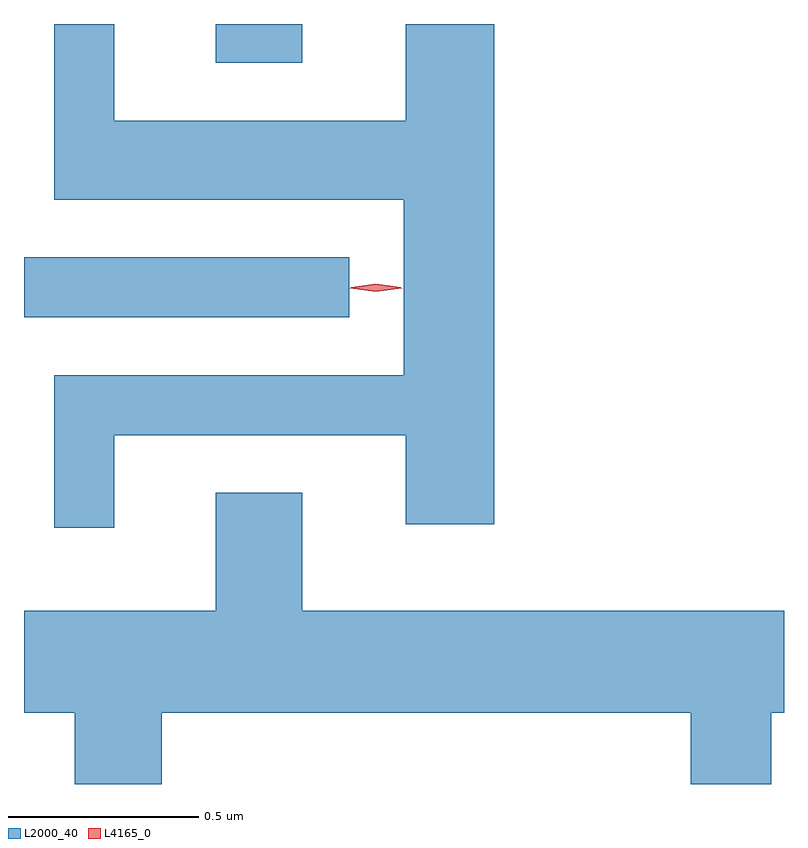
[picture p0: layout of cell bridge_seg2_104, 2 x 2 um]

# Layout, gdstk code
import gdstk
lib = gdstk.Library(unit=1e-6, precision=1e-09)
def R(c, l, rs):  # rectangles x0, y0, x1, y1
    for r in rs: c.add(gdstk.rectangle(r[:2], r[2:], *l))
def P(c, l, *ps):  # polygons
    for p in ps: c.add(gdstk.Polygon(p, *l))
L2000_40 = (2000, 40)
L4165_0 = (4165, 0)

bridge_seg2_104 = lib.new_cell('bridge_seg2_104')
R(bridge_seg2_104, L2000_40, [(1291.697,993.856,1292.553,994.014), (1292.201,994.526,1292.429,994.628)])
P(bridge_seg2_104, L2000_40, [(1291.934,993.546),(1292.701,993.546),(1292.701,993.311),(1292.934,993.311),(1292.934,994.628),(1292.701,994.628),(1292.701,994.374),(1291.934,994.374),(1291.934,994.628),(1291.776,994.628),(1291.776,994.166),(1292.696,994.166),(1292.696,993.704),(1291.776,993.704),(1291.776,993.303),(1291.934,993.303)],
  [(1292.059,992.816),(1293.451,992.816),(1293.451,992.628),(1293.664,992.628),(1293.664,992.816),(1293.697,992.816),(1293.697,993.084),(1292.429,993.084),(1292.429,993.394),(1292.201,993.394),(1292.201,993.084),(1291.697,993.084),(1291.697,992.816),(1291.831,992.816),(1291.831,992.628),(1292.059,992.628)])
P(bridge_seg2_104, L4165_0, [(1292.623,993.923),(1292.554,993.932),(1292.553,993.933),(1292.554,993.933),(1292.623,993.943),(1292.692,993.933),(1292.693,993.933),(1292.692,993.932)],
  [(1292.623,993.925),(1292.558,993.934),(1292.557,993.935),(1292.558,993.935),(1292.623,993.945),(1292.689,993.935),(1292.689,993.935),(1292.689,993.934)])

lib.write_gds('bridge_seg2_104.gds')
